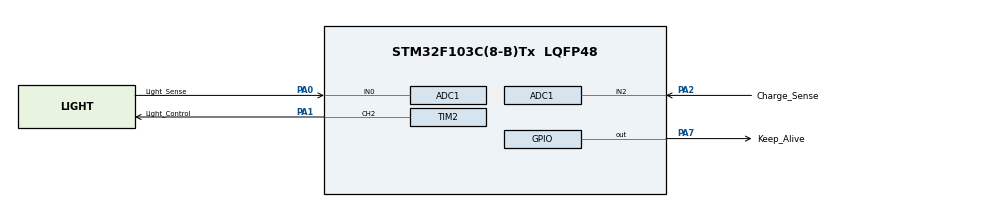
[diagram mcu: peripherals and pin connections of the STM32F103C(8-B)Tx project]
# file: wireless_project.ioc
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ADC1.Channel-0\#ChannelRegularConversion=ADC_CHANNEL_0
ADC1.Channel-1\#ChannelRegularConversion=ADC_CHANNEL_2
ADC1.ContinuousConvMode=ENABLE
ADC1.NbrOfConversion=2
ADC1.NbrOfConversionFlag=1
ADC1.Rank-0\#ChannelRegularConversion=1
ADC1.Rank-1\#ChannelRegularConversion=2
ADC1.SamplingTime-0\#ChannelRegularConversion=ADC_SAMPLETIME_13CYCLES_5
ADC1.SamplingTime-1\#ChannelRegularConversion=ADC_SAMPLETIME_13CYCLES_5
ADC1.master=1
Dma.ADC1.0.Direction=DMA_PERIPH_TO_MEMORY
Dma.ADC1.0.Instance=DMA1_Channel1
Dma.ADC1.0.MemDataAlignment=DMA_MDATAALIGN_HALFWORD
Dma.ADC1.0.MemInc=DMA_MINC_ENABLE
Dma.ADC1.0.Mode=DMA_CIRCULAR
Dma.ADC1.0.PeriphDataAlignment=DMA_PDATAALIGN_HALFWORD
Dma.ADC1.0.PeriphInc=DMA_PINC_DISABLE
Dma.ADC1.0.Priority=DMA_PRIORITY_VERY_HIGH
Dma.Request0=ADC1
Mcu.Family=STM32F1
Mcu.Name=STM32F103C(8-B)Tx
Mcu.Package=LQFP48
NVIC.DMA1_Channel1_IRQn=true\:0\:0\:false\:false\:true\:false\:true
NVIC.PriorityGroup=NVIC_PRIORITYGROUP_4
PA0-WKUP.GPIO_Label=Light_Sense
PA0-WKUP.Signal=ADCx_IN0
PA1.GPIO_Label=Light_Control
PA1.GPIO_Speed=GPIO_SPEED_FREQ_HIGH
PA1.Signal=S_TIM2_CH2
PA13.Mode=Serial_Wire
PA13.Signal=SYS_JTMS-SWDIO
PA14.Mode=Serial_Wire
PA14.Signal=SYS_JTCK-SWCLK
PA2.GPIO_Label=Charge_Sense
PA2.Signal=ADCx_IN2
PA7.GPIO_Label=Keep_Alive
PA7.Signal=GPIO_Output
PD0-OSC_IN.Mode=HSE-External-Oscillator
PD0-OSC_IN.Signal=RCC_OSC_IN
PD1-OSC_OUT.Mode=HSE-External-Oscillator
PD1-OSC_OUT.Signal=RCC_OSC_OUT
ProjectManager.HeapSize=0x200
ProjectManager.StackSize=0x400
ProjectManager.TargetToolchain=MDK-ARM V5.27
RCC.ADCPresc=RCC_ADCPCLK2_DIV6
RCC.AHBFreq_Value=72000000
RCC.APB1CLKDivider=RCC_HCLK_DIV2
RCC.APB1Freq_Value=36000000
RCC.APB1TimFreq_Value=72000000
RCC.APB2Freq_Value=72000000
RCC.APB2TimFreq_Value=72000000
RCC.HCLKFreq_Value=72000000
RCC.PLLMUL=RCC_PLL_MUL9
RCC.PLLSourceVirtual=RCC_PLLSOURCE_HSE
RCC.SYSCLKFreq_VALUE=72000000
RCC.SYSCLKSource=RCC_SYSCLKSOURCE_PLLCLK
RCC.USBFreq_Value=72000000
SH.ADCx_IN0.0=ADC1_IN0,IN0
SH.ADCx_IN2.0=ADC1_IN2,IN2
SH.S_TIM2_CH2.0=TIM2_CH2,PWM Generation2 CH2
TIM2.AutoReloadPreload=TIM_AUTORELOAD_PRELOAD_ENABLE
TIM2.Channel-PWM\ Generation2\ CH2=TIM_CHANNEL_2
TIM2.Period=1500
TIM2.Prescaler=8
TIM2.Pulse-PWM\ Generation2\ CH2=300
board=custom

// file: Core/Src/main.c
/* USER CODE BEGIN Header */
/**
  ******************************************************************************
  * @file           : main.c
  * @brief          : Main program body
  ******************************************************************************
  * @attention
  *
  * <h2><center>&copy; Copyright (c) 2022 STMicroelectronics.
  * All rights reserved.</center></h2>
  *
  * This software component is licensed by ST under BSD 3-Clause license,
  * the "License"; You may not use this file except in compliance with the
  * License. You may obtain a copy of the License at:
  *                        opensource.org/licenses/BSD-3-Clause
  *
  ******************************************************************************
  */
/* USER CODE END Header */
#include "main.h"

/* USER CODE BEGIN PM */
void stage_0(void);
void stage_1(void);
void stage_2(void);
void stage_3(void);
void stage_4(void);
/* USER CODE END PM */

void SystemClock_Config(void);
static void MX_GPIO_Init(void);
static void MX_DMA_Init(void);
static void MX_ADC1_Init(void);
static void MX_TIM2_Init(void);

/* USER CODE BEGIN 0 */
uint16_t ADC_Sample[2];
uint16_t PWM_SetData = 0;
uint16_t Light_ADC = 0;
uint16_t Charge_ADC = 0;

uint16_t Counter_Keep_Alive = 0;

uint16_t Global_stage = 0;
/* USER CODE END 0 */

int main(void)
{

  /* MCU Configuration--------------------------------------------------------*/

  /* Reset of all peripherals, Initializes the Flash interface and the Systick. */
  HAL_Init();

  /* Configure the system clock */
  SystemClock_Config();

  /* Initialize all configured peripherals */
  MX_GPIO_Init();
  MX_DMA_Init();
  MX_ADC1_Init();
  MX_TIM2_Init();
  /* USER CODE BEGIN 2 */
	LL_DMA_SetDataLength(DMA1, LL_DMA_CHANNEL_1, 2);
	LL_DMA_SetPeriphAddress(DMA1, LL_DMA_CHANNEL_1, LL_ADC_DMA_GetRegAddr(ADC1, LL_ADC_DMA_REG_REGULAR_DATA));
	LL_DMA_SetMemoryAddress(DMA1, LL_DMA_CHANNEL_1, (uint32_t)&ADC_Sample);
	LL_DMA_EnableChannel(DMA1, LL_DMA_CHANNEL_1);

	LL_ADC_Enable(ADC1);
	LL_ADC_StartCalibration(ADC1);
	while(LL_ADC_IsCalibrationOnGoing(ADC1)!=0);

	LL_ADC_REG_StartConversionSWStart(ADC1);

	LL_TIM_CC_EnableChannel(TIM2, LL_TIM_CHANNEL_CH2);
	LL_TIM_EnableCounter(TIM2);

	LL_TIM_OC_SetCompareCH2(TIM2, 0);

	LL_GPIO_ResetOutputPin(Keep_Alive_GPIO_Port, Keep_Alive_Pin);
	HAL_Delay(90);
	LL_GPIO_SetOutputPin(Keep_Alive_GPIO_Port, Keep_Alive_Pin);

  /* USER CODE END 2 */

  /* Infinite loop */
  /* USER CODE BEGIN WHILE */
  while (1)
  {
		Light_ADC = ADC_Sample[0];
		Charge_ADC = ADC_Sample[1];

		switch(Global_stage)
		{
			case 0:
				stage_0();
				break;
			case 1:
				stage_1();
				break;
			case 2:
				stage_2();
				break;
			case 3:
				stage_3();
				break;
			case 4:
				stage_4();
				break;
			default:
				break;
		}

		HAL_Delay(10);

		Counter_Keep_Alive ++;
		if(Counter_Keep_Alive > 800)
		{
			Counter_Keep_Alive = 0;
			LL_GPIO_ResetOutputPin(Keep_Alive_GPIO_Port, Keep_Alive_Pin);
			HAL_Delay(90);
			LL_GPIO_SetOutputPin(Keep_Alive_GPIO_Port, Keep_Alive_Pin);
		}

    /* USER CODE END WHILE */

  }
}

void SystemClock_Config(void)
{
  LL_FLASH_SetLatency(LL_FLASH_LATENCY_2);
  while(LL_FLASH_GetLatency()!= LL_FLASH_LATENCY_2)
  {
  }
  LL_RCC_HSE_Enable();

   /* Wait till HSE is ready */
  while(LL_RCC_HSE_IsReady() != 1)
  {

  }
  LL_RCC_PLL_ConfigDomain_SYS(LL_RCC_PLLSOURCE_HSE_DIV_1, LL_RCC_PLL_MUL_9);
  LL_RCC_PLL_Enable();

   /* Wait till PLL is ready */
  while(LL_RCC_PLL_IsReady() != 1)
  {

  }
  LL_RCC_SetAHBPrescaler(LL_RCC_SYSCLK_DIV_1);
  LL_RCC_SetAPB1Prescaler(LL_RCC_APB1_DIV_2);
  LL_RCC_SetAPB2Prescaler(LL_RCC_APB2_DIV_1);
  LL_RCC_SetSysClkSource(LL_RCC_SYS_CLKSOURCE_PLL);

   /* Wait till System clock is ready */
  while(LL_RCC_GetSysClkSource() != LL_RCC_SYS_CLKSOURCE_STATUS_PLL)
  {

  }
  LL_SetSystemCoreClock(72000000);

   /* Update the time base */
  if (HAL_InitTick (TICK_INT_PRIORITY) != HAL_OK)
  {
    Error_Handler();
  }
  LL_RCC_SetADCClockSource(LL_RCC_ADC_CLKSRC_PCLK2_DIV_6);
}

static void MX_ADC1_Init(void)
{

  LL_ADC_InitTypeDef ADC_InitStruct = {0};
  LL_ADC_CommonInitTypeDef ADC_CommonInitStruct = {0};
  LL_ADC_REG_InitTypeDef ADC_REG_InitStruct = {0};

  LL_GPIO_InitTypeDef GPIO_InitStruct = {0};

  /* Peripheral clock enable */
  LL_APB2_GRP1_EnableClock(LL_APB2_GRP1_PERIPH_ADC1);

  LL_APB2_GRP1_EnableClock(LL_APB2_GRP1_PERIPH_GPIOA);
  /**ADC1 GPIO Configuration
  PA0-WKUP   ------> ADC1_IN0
  PA2   ------> ADC1_IN2
  */
  GPIO_InitStruct.Pin = Light_Sense_Pin|Charge_Sense_Pin;
  GPIO_InitStruct.Mode = LL_GPIO_MODE_ANALOG;
  LL_GPIO_Init(GPIOA, &GPIO_InitStruct);

  /* ADC1 DMA Init */

  /* ADC1 Init */
  LL_DMA_SetDataTransferDirection(DMA1, LL_DMA_CHANNEL_1, LL_DMA_DIRECTION_PERIPH_TO_MEMORY);

  LL_DMA_SetChannelPriorityLevel(DMA1, LL_DMA_CHANNEL_1, LL_DMA_PRIORITY_VERYHIGH);

  LL_DMA_SetMode(DMA1, LL_DMA_CHANNEL_1, LL_DMA_MODE_CIRCULAR);

  LL_DMA_SetPeriphIncMode(DMA1, LL_DMA_CHANNEL_1, LL_DMA_PERIPH_NOINCREMENT);

  LL_DMA_SetMemoryIncMode(DMA1, LL_DMA_CHANNEL_1, LL_DMA_MEMORY_INCREMENT);

  LL_DMA_SetPeriphSize(DMA1, LL_DMA_CHANNEL_1, LL_DMA_PDATAALIGN_HALFWORD);

  LL_DMA_SetMemorySize(DMA1, LL_DMA_CHANNEL_1, LL_DMA_MDATAALIGN_HALFWORD);

  /** Common config
  */
  ADC_InitStruct.DataAlignment = LL_ADC_DATA_ALIGN_RIGHT;
  ADC_InitStruct.SequencersScanMode = LL_ADC_SEQ_SCAN_ENABLE;
  LL_ADC_Init(ADC1, &ADC_InitStruct);
  ADC_CommonInitStruct.Multimode = LL_ADC_MULTI_INDEPENDENT;
  LL_ADC_CommonInit(__LL_ADC_COMMON_INSTANCE(ADC1), &ADC_CommonInitStruct);
  ADC_REG_InitStruct.TriggerSource = LL_ADC_REG_TRIG_SOFTWARE;
  ADC_REG_InitStruct.SequencerLength = LL_ADC_REG_SEQ_SCAN_ENABLE_2RANKS;
  ADC_REG_InitStruct.SequencerDiscont = LL_ADC_REG_SEQ_DISCONT_DISABLE;
  ADC_REG_InitStruct.ContinuousMode = LL_ADC_REG_CONV_CONTINUOUS;
  ADC_REG_InitStruct.DMATransfer = LL_ADC_REG_DMA_TRANSFER_UNLIMITED;
  LL_ADC_REG_Init(ADC1, &ADC_REG_InitStruct);
  /** Configure Regular Channel
  */
  LL_ADC_REG_SetSequencerRanks(ADC1, LL_ADC_REG_RANK_1, LL_ADC_CHANNEL_0);
  LL_ADC_SetChannelSamplingTime(ADC1, LL_ADC_CHANNEL_0, LL_ADC_SAMPLINGTIME_13CYCLES_5);
  /** Configure Regular Channel
  */
  LL_ADC_REG_SetSequencerRanks(ADC1, LL_ADC_REG_RANK_2, LL_ADC_CHANNEL_2);
  LL_ADC_SetChannelSamplingTime(ADC1, LL_ADC_CHANNEL_2, LL_ADC_SAMPLINGTIME_13CYCLES_5);

}

static void MX_TIM2_Init(void)
{

  LL_TIM_InitTypeDef TIM_InitStruct = {0};
  LL_TIM_OC_InitTypeDef TIM_OC_InitStruct = {0};

  LL_GPIO_InitTypeDef GPIO_InitStruct = {0};

  /* Peripheral clock enable */
  LL_APB1_GRP1_EnableClock(LL_APB1_GRP1_PERIPH_TIM2);

  TIM_InitStruct.Prescaler = 8;
  TIM_InitStruct.CounterMode = LL_TIM_COUNTERMODE_UP;
  TIM_InitStruct.Autoreload = 1500;
  TIM_InitStruct.ClockDivision = LL_TIM_CLOCKDIVISION_DIV1;
  LL_TIM_Init(TIM2, &TIM_InitStruct);
  LL_TIM_EnableARRPreload(TIM2);
  LL_TIM_OC_EnablePreload(TIM2, LL_TIM_CHANNEL_CH2);
  TIM_OC_InitStruct.OCMode = LL_TIM_OCMODE_PWM1;
  TIM_OC_InitStruct.OCState = LL_TIM_OCSTATE_DISABLE;
  TIM_OC_InitStruct.OCNState = LL_TIM_OCSTATE_DISABLE;
  TIM_OC_InitStruct.CompareValue = 300;
  TIM_OC_InitStruct.OCPolarity = LL_TIM_OCPOLARITY_HIGH;
  LL_TIM_OC_Init(TIM2, LL_TIM_CHANNEL_CH2, &TIM_OC_InitStruct);
  LL_TIM_OC_DisableFast(TIM2, LL_TIM_CHANNEL_CH2);
  LL_TIM_SetTriggerOutput(TIM2, LL_TIM_TRGO_RESET);
  LL_TIM_DisableMasterSlaveMode(TIM2);
  LL_APB2_GRP1_EnableClock(LL_APB2_GRP1_PERIPH_GPIOA);
  /**TIM2 GPIO Configuration
  PA1   ------> TIM2_CH2
  */
  GPIO_InitStruct.Pin = Light_Control_Pin;
  GPIO_InitStruct.Mode = LL_GPIO_MODE_ALTERNATE;
  GPIO_InitStruct.Speed = LL_GPIO_SPEED_FREQ_HIGH;
  GPIO_InitStruct.OutputType = LL_GPIO_OUTPUT_PUSHPULL;
  LL_GPIO_Init(Light_Control_GPIO_Port, &GPIO_InitStruct);

}

static void MX_DMA_Init(void)
{

  /* DMA controller clock enable */
  __HAL_RCC_DMA1_CLK_ENABLE();

  /* DMA interrupt init */
  /* DMA1_Channel1_IRQn interrupt configuration */
  NVIC_SetPriority(DMA1_Channel1_IRQn, NVIC_EncodePriority(NVIC_GetPriorityGrouping(),0, 0));
  NVIC_EnableIRQ(DMA1_Channel1_IRQn);

}

static void MX_GPIO_Init(void)
{
  LL_GPIO_InitTypeDef GPIO_InitStruct = {0};

  /* GPIO Ports Clock Enable */
  LL_APB2_GRP1_EnableClock(LL_APB2_GRP1_PERIPH_GPIOD);
  LL_APB2_GRP1_EnableClock(LL_APB2_GRP1_PERIPH_GPIOA);

  /**/
  LL_GPIO_ResetOutputPin(Keep_Alive_GPIO_Port, Keep_Alive_Pin);

  /**/
  GPIO_InitStruct.Pin = Keep_Alive_Pin;
  GPIO_InitStruct.Mode = LL_GPIO_MODE_OUTPUT;
  GPIO_InitStruct.Speed = LL_GPIO_SPEED_FREQ_LOW;
  GPIO_InitStruct.OutputType = LL_GPIO_OUTPUT_PUSHPULL;
  LL_GPIO_Init(Keep_Alive_GPIO_Port, &GPIO_InitStruct);

}

/* USER CODE BEGIN 4 */

uint16_t indexWave[] = {
    1, 1, 1, 1, 2, 2, 2, 2, 3, 3, 4, 4, 5, 5,
    6, 7, 8, 9, 10, 11, 13, 15, 17, 19, 22,
    25, 28, 32, 36, 41, 47, 53, 61, 69, 79,
    89, 102, 116, 131, 149, 170, 193, 219,
    250, 284, 323, 367, 417, 474, 539, 613,
    697, 792, 901, 1024, 1024, 901, 792, 697,
    613, 539, 474, 417, 367, 323, 284, 250,
    219, 193, 170, 149, 131, 116, 102, 89,
    79, 69, 61, 53, 47, 41, 36, 32, 28, 25,
    22, 19, 17, 15, 13, 11, 10, 9, 8, 7, 6,
    5, 5, 4, 4, 3, 3, 2, 2, 2, 2, 1, 1, 1, 1
};

uint16_t POINT_NUM = sizeof(indexWave)/sizeof(indexWave[0]);

void stage_0(void)
{
	LL_TIM_OC_SetCompareCH2(TIM2, 0);

	if(Light_ADC > 1000)
	{
		Global_stage = 1;
	}
}

void stage_1(void)
{
	uint16_t Counter_I = 0;

	for(Counter_I = 0;Counter_I<(POINT_NUM/2);Counter_I++)
	{
		LL_TIM_OC_SetCompareCH2(TIM2, indexWave[Counter_I]);
		HAL_Delay(70);
	}
	Global_stage = 2;
}

uint16_t Counter_C = 0;
uint16_t Counter_L = 0;

uint16_t Counter_TimeOut = 0;
void stage_2(void)
{
	Counter_C = 0;
	if(Charge_ADC > 2000)
	{
		LL_TIM_OC_SetCompareCH2(TIM2, 20);
		Global_stage = 3;
	}
	else if(Light_ADC < 1000)
	{
		Counter_L ++;
		if(Counter_L > 500)
		{
			Counter_L = 0;
			Global_stage = 0;
		}
	}
}

void stage_3(void)
{
	if(Charge_ADC > 3000)
	{
		Counter_C++;
	}
	else
	{
		Counter_C = 0;
		Counter_TimeOut ++;
	}

	if(Counter_C >= 100)Global_stage = 4;
	if(Counter_TimeOut >= 500)Global_stage = 2;
}

uint16_t Breath_Counter = 0;
void stage_4(void)
{
	if(Charge_ADC < 2000)
	{
		LL_TIM_OC_SetCompareCH2(TIM2, 20);
		Global_stage = 2;
	}
	else if(Charge_ADC < 3000)
	{
		LL_TIM_OC_SetCompareCH2(TIM2, 20);
		Global_stage = 3;
	}
	else
	{
		LL_TIM_OC_SetCompareCH2(TIM2, indexWave[Breath_Counter]);
		HAL_Delay(10);
		Breath_Counter ++;
		if(Breath_Counter > POINT_NUM)Breath_Counter = 0;
	}

}
/* USER CODE END 4 */

void Error_Handler(void)
{
  __disable_irq();
  while (1)
  {
  }
}

/************************ (C) COPYRIGHT STMicroelectronics *****END OF FILE****/
